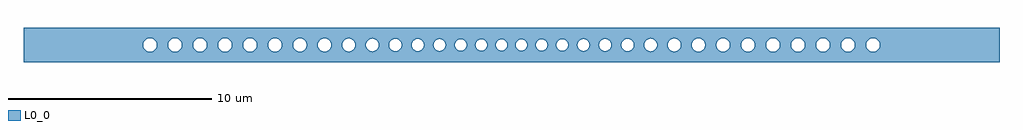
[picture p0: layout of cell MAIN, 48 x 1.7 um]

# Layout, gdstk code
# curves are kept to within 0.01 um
import gdstk
lib = gdstk.Library(unit=1e-6, precision=1e-09)
def P(c, l, *ps):  # polygons
    for p in ps: c.add(gdstk.Polygon(p, *l))
L0_0 = (0, 0)

main = lib.new_cell('MAIN')
P(main, L0_0, [(-17.799,-0.342),(-17.93,-0.308),(-18.03,-0.233),(-18.03,-0.85),(-17.799,-0.85)],
  [(-17.789,0.343),(-17.68,0.329),(-17.557,0.262),(-17.473,0.156),(-17.438,0.042),(-17.438,0.85),(-17.799,0.85),(-17.799,0.342)],
  [(-17.438,-0.042),(-17.483,-0.174),(-17.569,-0.272),(-17.68,-0.329),(-17.799,-0.342),(-17.799,-0.85),(-17.438,-0.85)],
  [(24,0.85),(18.03,0.85),(18.03,0.233),(18.097,0.128),(18.121,0.021),(18.099,-0.123),(18.03,-0.233),(18.03,-0.85),(24,-0.85)],
  [(-16.606,0.338),(-16.466,0.333),(-16.361,0.287),(-16.271,0.201),(-16.218,0.088),(-16.218,0.85),(-16.616,0.85),(-16.616,0.336)],
  [(-16.218,-0.088),(-16.271,-0.201),(-16.361,-0.287),(-16.481,-0.336),(-16.616,-0.336),(-16.616,-0.85),(-16.218,-0.85)],
  [(-16.892,0.005),(-16.873,0.113),(-16.811,0.221),(-16.719,0.298),(-16.616,0.336),(-16.616,0.85),(-17.438,0.85),(-17.436,0)],
  [(-15.422,0.327),(-15.293,0.342),(-15.168,0.308),(-15.075,0.241),(-15.003,0.132),(-15.003,0.85),(-15.432,0.85),(-15.432,0.324)],
  [(-15.003,-0.132),(-15.075,-0.241),(-15.168,-0.308),(-15.309,-0.343),(-15.432,-0.324),(-15.432,-0.85),(-15.003,-0.85)],
  [(-15.662,0.005),(-15.647,0.103),(-15.597,0.201),(-15.529,0.272),(-15.432,0.324),(-15.432,0.85),(-16.218,0.85),(-16.218,0.088),(-16.206,0)],
  [(-14.237,0.31),(-14.116,0.342),(-13.992,0.329),(-13.881,0.272),(-13.795,0.174),(-13.795,0.85),(-14.246,0.85)],
  [(-13.795,-0.174),(-13.881,-0.272),(-13.992,-0.329),(-14.127,-0.341),(-14.246,-0.305),(-14.246,-0.85),(-13.795,-0.85)],
  [(-14.433,0.005),(-14.419,0.098),(-14.383,0.179),(-14.327,0.248),(-14.246,0.305),(-14.246,0.85),(-15.003,0.85),(-15.003,0.132),(-14.977,0)],
  [(-13.048,0.287),(-12.943,0.333),(-12.814,0.34),(-12.677,0.29),(-12.589,0.209),(-12.589,0.85),(-13.057,0.85)],
  [(-12.589,-0.209),(-12.677,-0.29),(-12.814,-0.34),(-12.943,-0.333),(-13.057,-0.281),(-13.057,-0.85),(-12.589,-0.85)],
  [(-13.203,0.005),(-13.166,0.156),(-13.116,0.229),(-13.057,0.281),(-13.057,0.85),(-13.795,0.85),(-13.795,0.174),(-13.757,0.083),(-13.747,0)],
  [(-11.852,0.261),(-11.744,0.323),(-11.621,0.342),(-11.48,0.307),(-11.391,0.243),(-11.391,0.85),(-11.86,0.85)],
  [(-11.391,-0.243),(-11.48,-0.307),(-11.621,-0.342),(-11.744,-0.323),(-11.86,-0.254),(-11.86,-0.85),(-11.391,-0.85)],
  [(-11.973,0.005),(-11.938,0.151),(-11.86,0.254),(-11.86,0.85),(-12.589,0.85),(-12.589,0.209),(-12.535,0.108),(-12.518,0)],
  [(-10.661,0.223),(-10.555,0.305),(-10.451,0.336),(-10.317,0.327),(-10.202,0.269),(-10.202,0.85),(-10.665,0.85)],
  [(-10.202,-0.269),(-10.317,-0.327),(-10.451,-0.336),(-10.555,-0.305),(-10.665,-0.219),(-10.665,-0.85),(-10.202,-0.85)],
  [(-10.745,0.005),(-10.725,0.117),(-10.665,0.219),(-10.665,0.85),(-11.391,0.85),(-11.391,0.243),(-11.32,0.142),(-11.29,0)],
  [(-9.473,0.187),(-9.391,0.272),(-9.279,0.324),(-9.156,0.332),(-9.026,0.287),(-9.026,0.85),(-9.476,0.85)],
  [(-9.026,-0.287),(-9.156,-0.332),(-9.279,-0.324),(-9.391,-0.272),(-9.476,-0.183),(-9.476,-0.85),(-9.026,-0.85)],
  [(-9.53,0.003),(-9.517,0.094),(-9.476,0.183),(-9.476,0.85),(-10.202,0.85),(-10.202,0.269),(-10.101,0.146),(-10.068,0)],
  [(-8.296,0.155),(-8.208,0.26),(-8.109,0.312),(-7.987,0.328),(-7.864,0.296),(-7.864,0.85),(-8.298,0.85)],
  [(-7.864,-0.296),(-7.987,-0.328),(-8.118,-0.309),(-8.231,-0.24),(-8.298,-0.15),(-8.298,-0.85),(-7.864,-0.85)],
  [(-8.335,0.003),(-8.298,0.15),(-8.298,0.85),(-9.026,0.85),(-9.026,0.287),(-8.915,0.181),(-8.872,0.082),(-8.862,0)],
  [(-7.137,0.13),(-7.061,0.237),(-6.949,0.304),(-6.84,0.322),(-6.717,0.295),(-6.717,0.85),(-7.139,0.85)],
  [(-6.717,-0.295),(-6.84,-0.322),(-6.954,-0.302),(-7.061,-0.237),(-7.139,-0.126),(-7.139,-0.85),(-6.717,-0.85)],
  [(-7.165,0.003),(-7.139,0.126),(-7.139,0.85),(-7.864,0.85),(-7.864,0.296),(-7.788,0.245),(-7.734,0.183),(-7.694,0.101),(-7.679,0)],
  [(-6.001,0.12),(-5.939,0.216),(-5.833,0.29),(-5.711,0.315),(-5.594,0.292),(-5.594,0.85),(-6.003,0.85)],
  [(-5.594,-0.292),(-5.711,-0.315),(-5.833,-0.29),(-5.939,-0.216),(-6.003,-0.115),(-6.003,-0.85),(-5.594,-0.85)],
  [(-6.024,0.002),(-6.003,0.115),(-6.003,0.85),(-6.717,0.85),(-6.717,0.295),(-6.631,0.242),(-6.572,0.173),(-6.533,0.085),(-6.522,0)],
  [(-4.894,0.113),(-4.834,0.209),(-4.725,0.285),(-4.609,0.308),(-4.493,0.285),(-4.493,0.85),(-4.896,0.85)],
  [(-4.493,-0.285),(-4.604,-0.308),(-4.725,-0.285),(-4.834,-0.209),(-4.896,-0.109),(-4.896,-0.85),(-4.493,-0.85)],
  [(-4.916,0.002),(-4.896,0.109),(-4.896,0.85),(-5.594,0.85),(-5.594,0.292),(-5.512,0.245),(-5.448,0.175),(-5.408,0.089),(-5.395,0)],
  [(-3.814,0.119),(-3.741,0.222),(-3.641,0.283),(-3.525,0.301),(-3.412,0.273),(-3.412,0.85),(-3.816,0.85)],
  [(-3.412,-0.273),(-3.525,-0.301),(-3.641,-0.283),(-3.741,-0.222),(-3.816,-0.115),(-3.816,-0.85),(-3.412,-0.85)],
  [(-3.839,0.005),(-3.816,0.115),(-3.816,0.85),(-4.493,0.85),(-4.493,0.285),(-4.409,0.235),(-4.35,0.168),(-4.313,0.088),(-4.3,0)],
  [(-2.761,0.133),(-2.693,0.221),(-2.589,0.281),(-2.479,0.295),(-2.355,0.258),(-2.355,0.85),(-2.763,0.85)],
  [(-2.355,-0.258),(-2.479,-0.295),(-2.589,-0.281),(-2.693,-0.221),(-2.763,-0.129),(-2.763,-0.85),(-2.355,-0.85)],
  [(-2.792,0.002),(-2.763,0.129),(-2.763,0.85),(-3.412,0.85),(-3.412,0.273),(-3.349,0.235),(-3.292,0.175),(-3.251,0.092),(-3.237,0)],
  [(-1.729,0.155),(-1.646,0.241),(-1.531,0.287),(-1.416,0.283),(-1.312,0.235),(-1.312,0.85),(-1.731,0.85)],
  [(-1.312,-0.235),(-1.416,-0.283),(-1.531,-0.287),(-1.646,-0.241),(-1.731,-0.151),(-1.731,-0.85),(-1.312,-0.85)],
  [(-1.773,0.005),(-1.761,0.085),(-1.731,0.151),(-1.731,0.85),(-2.355,0.85),(-2.355,0.258),(-2.292,0.213),(-2.239,0.144),(-2.202,0)],
  [(-0.71,0.185),(-0.625,0.254),(-0.511,0.287),(-0.385,0.268),(-0.292,0.209),(-0.292,0.85),(-0.713,0.85)],
  [(-0.292,-0.209),(-0.385,-0.268),(-0.511,-0.287),(-0.625,-0.254),(-0.713,-0.181),(-0.713,-0.85),(-0.292,-0.85)],
  [(-0.777,0.005),(-0.755,0.112),(-0.713,0.181),(-0.713,0.85),(-1.312,0.85),(-1.312,0.235),(-1.227,0.138),(-1.192,0)],
  [(0.3,0.216),(0.385,0.268),(0.511,0.287),(0.625,0.254),(0.713,0.181),(0.713,0.85),(0.292,0.85)],
  [(0.713,-0.181),(0.625,-0.254),(0.511,-0.287),(0.385,-0.268),(0.292,-0.209),(0.292,-0.85),(0.713,-0.85)],
  [(0.202,0.005),(0.221,0.103),(0.292,0.209),(0.292,0.85),(-0.292,0.85),(-0.292,0.209),(-0.221,0.103),(-0.202,0)],
  [(1.32,0.241),(1.416,0.283),(1.531,0.287),(1.646,0.241),(1.729,0.155),(1.729,0.85),(1.312,0.85)],
  [(1.729,-0.155),(1.646,-0.241),(1.531,-0.287),(1.416,-0.283),(1.312,-0.235),(1.312,-0.85),(1.729,-0.85)],
  [(1.192,0.005),(1.227,0.138),(1.312,0.235),(1.312,0.85),(0.713,0.85),(0.713,0.181),(0.76,0.098),(0.777,0)],
  [(2.357,0.26),(2.467,0.294),(2.582,0.283),(2.684,0.229),(2.76,0.135),(2.76,0.85),(2.348,0.85)],
  [(2.76,-0.135),(2.684,-0.229),(2.582,-0.283),(2.467,-0.294),(2.348,-0.255),(2.348,-0.85),(2.76,-0.85)],
  [(2.202,0.002),(2.238,0.142),(2.277,0.197),(2.348,0.255),(2.348,0.85),(1.729,0.85),(1.729,0.155),(1.765,0.071),(1.773,0)],
  [(3.416,0.275),(3.525,0.301),(3.641,0.283),(3.741,0.222),(3.816,0.115),(3.816,0.85),(3.407,0.85)],
  [(3.816,-0.115),(3.741,-0.222),(3.641,-0.283),(3.525,-0.301),(3.407,-0.271),(3.407,-0.85),(3.816,-0.85)],
  [(3.237,0.005),(3.251,0.092),(3.292,0.175),(3.407,0.271),(3.407,0.85),(2.76,0.85),(2.76,0.135),(2.792,0)],
  [(4.5,0.288),(4.612,0.308),(4.732,0.282),(4.839,0.204),(4.895,0.111),(4.895,0.85),(4.491,0.85)],
  [(4.895,-0.111),(4.839,-0.204),(4.732,-0.282),(4.612,-0.308),(4.491,-0.285),(4.491,-0.85),(4.895,-0.85)],
  [(4.3,0.002),(4.312,0.085),(4.346,0.162),(4.407,0.233),(4.491,0.285),(4.491,0.85),(3.816,0.85),(3.816,0.115),(3.839,0)],
  [(5.601,0.295),(5.714,0.315),(5.84,0.287),(5.941,0.214),(6.002,0.117),(6.002,0.85),(5.592,0.85)],
  [(6.002,-0.117),(5.941,-0.214),(5.84,-0.287),(5.714,-0.315),(5.592,-0.291),(5.592,-0.85),(6.002,-0.85)],
  [(5.395,0.002),(5.41,0.096),(5.452,0.181),(5.506,0.24),(5.592,0.291),(5.592,0.85),(4.895,0.85),(4.895,0.111),(4.916,0)],
  [(6.724,0.298),(6.842,0.322),(6.947,0.305),(7.063,0.235),(7.136,0.133),(7.136,0.85),(6.714,0.85),(6.714,0.294)],
  [(7.136,-0.133),(7.063,-0.235),(6.947,-0.305),(6.842,-0.322),(6.714,-0.294),(6.714,-0.85),(7.136,-0.85)],
  [(6.522,0.003),(6.535,0.092),(6.573,0.175),(6.637,0.247),(6.714,0.294),(6.714,0.85),(6.002,0.85),(6.002,0.117),(6.024,0)],
  [(7.867,0.297),(7.975,0.327),(8.106,0.313),(8.214,0.255),(8.295,0.157),(8.295,0.85),(7.858,0.85)],
  [(8.295,-0.157),(8.214,-0.255),(8.106,-0.313),(7.975,-0.327),(7.858,-0.292),(7.858,-0.85),(8.295,-0.85)],
  [(7.679,0.003),(7.689,0.083),(7.73,0.177),(7.782,0.24),(7.858,0.292),(7.858,0.85),(7.136,0.85),(7.136,0.133),(7.165,0)],
  [(9.028,0.288),(9.149,0.331),(9.262,0.328),(9.376,0.282),(9.474,0.185),(9.474,0.85),(9.019,0.85)],
  [(9.474,-0.185),(9.376,-0.282),(9.262,-0.328),(9.149,-0.331),(9.019,-0.283),(9.019,-0.85),(9.474,-0.85)],
  [(8.862,0.003),(8.903,0.161),(8.948,0.224),(9.019,0.283),(9.019,0.85),(8.295,0.85),(8.295,0.157),(8.325,0.081),(8.335,0)],
  [(10.21,0.275),(10.317,0.327),(10.451,0.336),(10.555,0.305),(10.665,0.219),(10.665,0.85),(10.202,0.85)],
  [(10.665,-0.219),(10.555,-0.305),(10.451,-0.336),(10.317,-0.327),(10.202,-0.269),(10.202,-0.85),(10.665,-0.85)],
  [(10.068,0.005),(10.103,0.15),(10.202,0.269),(10.202,0.85),(9.474,0.85),(9.474,0.185),(9.516,0.097),(9.53,0)],
  [(11.395,0.247),(11.494,0.313),(11.621,0.342),(11.744,0.323),(11.86,0.254),(11.86,0.85),(11.391,0.85)],
  [(11.86,-0.254),(11.744,-0.323),(11.621,-0.342),(11.48,-0.307),(11.391,-0.243),(11.391,-0.85),(11.86,-0.85)],
  [(11.29,0.005),(11.32,0.142),(11.391,0.243),(11.391,0.85),(10.665,0.85),(10.665,0.219),(10.725,0.117),(10.745,0)],
  [(12.592,0.213),(12.677,0.29),(12.814,0.34),(12.943,0.333),(13.053,0.284),(13.053,0.85),(12.589,0.85)],
  [(13.053,-0.284),(12.943,-0.333),(12.814,-0.34),(12.677,-0.29),(12.589,-0.209),(12.589,-0.85),(13.053,-0.85)],
  [(12.518,0.005),(12.535,0.108),(12.589,0.209),(12.589,0.85),(11.86,0.85),(11.86,0.254),(11.938,0.151),(11.973,0)],
  [(13.795,0.174),(13.881,0.272),(13.992,0.329),(14.116,0.342),(14.242,0.308),(14.242,0.85),(13.792,0.85)],
  [(14.242,-0.308),(14.116,-0.342),(13.992,-0.329),(13.881,-0.272),(13.792,-0.17),(13.792,-0.85),(14.242,-0.85)],
  [(13.747,0.005),(13.757,0.083),(13.792,0.17),(13.792,0.85),(13.053,0.85),(13.053,0.284),(13.109,0.237),(13.166,0.156),(13.195,0.078),(13.203,0)],
  [(15.003,0.132),(15.075,0.241),(15.168,0.308),(15.309,0.343),(15.432,0.324),(15.432,0.85),(15.001,0.85)],
  [(15.432,-0.324),(15.309,-0.343),(15.168,-0.308),(15.075,-0.241),(15.001,-0.128),(15.001,-0.85),(15.432,-0.85)],
  [(14.977,0.005),(15.001,0.128),(15.001,0.85),(14.242,0.85),(14.242,0.308),(14.327,0.248),(14.383,0.179),(14.419,0.098),(14.433,0)],
  [(16.219,0.093),(16.271,0.201),(16.361,0.287),(16.481,0.336),(16.616,0.336),(16.616,0.85),(16.218,0.85)],
  [(16.616,-0.336),(16.481,-0.336),(16.361,-0.287),(16.271,-0.201),(16.218,-0.088),(16.218,-0.85),(16.616,-0.85)],
  [(16.206,0.005),(16.218,0.088),(16.218,0.85),(15.432,0.85),(15.432,0.324),(15.529,0.272),(15.597,0.201),(15.647,0.103),(15.662,0)],
  [(17.439,0.047),(17.483,0.174),(17.569,0.272),(17.68,0.329),(17.799,0.342),(17.799,0.85),(17.438,0.85)],
  [(17.799,-0.342),(17.68,-0.329),(17.569,-0.272),(17.483,-0.174),(17.438,-0.042),(17.438,-0.85),(17.799,-0.85)],
  [(-18.03,-0.233),(-18.097,-0.128),(-18.121,-0.021),(-18.099,0.123),(-18.03,0.233),(-18.03,0.85),(-24,0.85),(-24,-0.85),(-18.03,-0.85)],
  [(-18.026,0.237),(-17.93,0.308),(-17.799,0.342),(-17.799,0.85),(-18.03,0.85)],
  [(18.03,0.85),(17.799,0.85),(17.799,0.342),(17.93,0.308),(18.03,0.233)],
  [(18.03,-0.233),(17.93,-0.308),(17.799,-0.342),(17.799,-0.85),(18.03,-0.85)],
  [(-16.616,-0.336),(-16.737,-0.287),(-16.821,-0.209),(-16.873,-0.113),(-16.892,0),(-17.436,0),(-17.438,-0.85),(-16.616,-0.85)],
  [(-15.432,-0.324),(-15.529,-0.272),(-15.597,-0.201),(-15.647,-0.103),(-15.662,0),(-16.206,0),(-16.218,-0.088),(-16.218,-0.85),(-15.432,-0.85)],
  [(-14.246,-0.305),(-14.327,-0.248),(-14.383,-0.179),(-14.419,-0.098),(-14.433,0),(-14.977,0),(-15.003,-0.132),(-15.003,-0.85),(-14.246,-0.85)],
  [(-13.057,-0.281),(-13.116,-0.229),(-13.166,-0.156),(-13.195,-0.078),(-13.203,0),(-13.747,0),(-13.757,-0.083),(-13.795,-0.174),(-13.795,-0.85),(-13.057,-0.85)],
  [(-11.86,-0.254),(-11.938,-0.151),(-11.973,0),(-12.518,0),(-12.535,-0.108),(-12.589,-0.209),(-12.589,-0.85),(-11.86,-0.85)],
  [(-10.665,-0.219),(-10.725,-0.117),(-10.745,0),(-11.29,0),(-11.32,-0.142),(-11.391,-0.243),(-11.391,-0.85),(-10.665,-0.85)],
  [(-9.476,-0.183),(-9.517,-0.094),(-9.53,0),(-10.068,0),(-10.101,-0.146),(-10.202,-0.269),(-10.202,-0.85),(-9.476,-0.85)],
  [(-8.298,-0.15),(-8.335,0),(-8.862,0),(-8.872,-0.082),(-8.907,-0.167),(-8.946,-0.222),(-9.026,-0.287),(-9.026,-0.85),(-8.298,-0.85)],
  [(-7.139,-0.126),(-7.165,0),(-7.679,0),(-7.691,-0.091),(-7.729,-0.175),(-7.788,-0.245),(-7.864,-0.296),(-7.864,-0.85),(-7.139,-0.85)],
  [(-6.003,-0.115),(-6.024,0),(-6.522,0),(-6.533,-0.085),(-6.572,-0.173),(-6.631,-0.242),(-6.717,-0.295),(-6.717,-0.85),(-6.003,-0.85)],
  [(-4.896,-0.109),(-4.916,0),(-5.395,0),(-5.408,-0.089),(-5.448,-0.175),(-5.512,-0.245),(-5.594,-0.292),(-5.594,-0.85),(-4.896,-0.85)],
  [(-3.816,-0.115),(-3.839,0),(-4.3,0),(-4.313,-0.088),(-4.35,-0.168),(-4.409,-0.235),(-4.493,-0.285),(-4.493,-0.85),(-3.816,-0.85)],
  [(-2.763,-0.129),(-2.792,0),(-3.237,0),(-3.251,-0.092),(-3.292,-0.175),(-3.349,-0.235),(-3.412,-0.273),(-3.412,-0.85),(-2.763,-0.85)],
  [(-1.731,-0.151),(-1.765,-0.071),(-1.773,0),(-2.202,0),(-2.239,-0.144),(-2.292,-0.213),(-2.355,-0.258),(-2.355,-0.85),(-1.731,-0.85)],
  [(-0.713,-0.181),(-0.76,-0.098),(-0.777,0),(-1.192,0),(-1.227,-0.138),(-1.312,-0.235),(-1.312,-0.85),(-0.713,-0.85)],
  [(0.292,-0.209),(0.221,-0.103),(0.202,0),(-0.202,0),(-0.221,-0.103),(-0.292,-0.209),(-0.292,-0.85),(0.292,-0.85)],
  [(1.312,-0.235),(1.227,-0.138),(1.192,0),(0.777,0),(0.76,-0.098),(0.713,-0.181),(0.713,-0.85),(1.312,-0.85)],
  [(2.348,-0.255),(2.277,-0.197),(2.238,-0.142),(2.202,0),(1.773,0),(1.765,-0.071),(1.729,-0.155),(1.729,-0.85),(2.348,-0.85)],
  [(3.407,-0.271),(3.292,-0.175),(3.251,-0.092),(3.237,0),(2.792,0),(2.76,-0.135),(2.76,-0.85),(3.407,-0.85)],
  [(4.491,-0.285),(4.407,-0.233),(4.346,-0.162),(4.312,-0.085),(4.3,0),(3.839,0),(3.816,-0.115),(3.816,-0.85),(4.491,-0.85)],
  [(5.592,-0.291),(5.506,-0.24),(5.452,-0.181),(5.41,-0.096),(5.395,0),(4.916,0),(4.895,-0.111),(4.895,-0.85),(5.592,-0.85)],
  [(6.714,-0.294),(6.637,-0.247),(6.573,-0.175),(6.535,-0.092),(6.522,0),(6.024,0),(6.002,-0.117),(6.002,-0.85),(6.714,-0.85)],
  [(7.858,-0.292),(7.782,-0.24),(7.722,-0.164),(7.689,-0.083),(7.679,0),(7.165,0),(7.136,-0.133),(7.136,-0.85),(7.858,-0.85)],
  [(9.019,-0.283),(8.948,-0.224),(8.903,-0.161),(8.874,-0.089),(8.862,0),(8.335,0),(8.325,-0.081),(8.295,-0.157),(8.295,-0.85),(9.019,-0.85)],
  [(10.202,-0.269),(10.101,-0.146),(10.068,0),(9.53,0),(9.516,-0.097),(9.474,-0.185),(9.474,-0.85),(10.202,-0.85)],
  [(11.391,-0.243),(11.32,-0.142),(11.29,0),(10.745,0),(10.725,-0.117),(10.665,-0.219),(10.665,-0.85),(11.391,-0.85)],
  [(12.589,-0.209),(12.535,-0.108),(12.518,0),(11.973,0),(11.938,-0.151),(11.86,-0.254),(11.86,-0.85),(12.589,-0.85)],
  [(13.792,-0.17),(13.757,-0.083),(13.747,0),(13.203,0),(13.195,-0.078),(13.166,-0.156),(13.109,-0.237),(13.053,-0.284),(13.053,-0.85),(13.792,-0.85)],
  [(15.001,-0.128),(14.977,0),(14.433,0),(14.419,-0.098),(14.383,-0.179),(14.327,-0.248),(14.242,-0.308),(14.242,-0.85),(15.001,-0.85)],
  [(16.218,-0.088),(16.206,0),(15.662,0),(15.647,-0.103),(15.597,-0.201),(15.529,-0.272),(15.432,-0.324),(15.432,-0.85),(16.218,-0.85)],
  [(17.438,-0.042),(17.436,0),(16.892,0),(16.873,-0.113),(16.821,-0.209),(16.737,-0.287),(16.616,-0.336),(16.616,-0.85),(17.438,-0.85)],
  [(17.436,0.005),(17.438,0.85),(16.616,0.85),(16.616,0.336),(16.737,0.287),(16.821,0.209),(16.873,0.113),(16.892,0)])

lib.write_gds('MAIN.gds')
